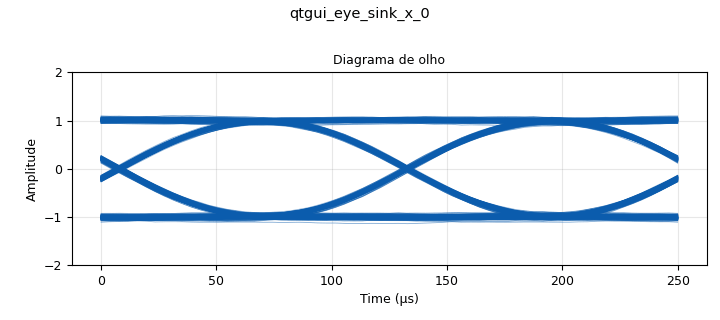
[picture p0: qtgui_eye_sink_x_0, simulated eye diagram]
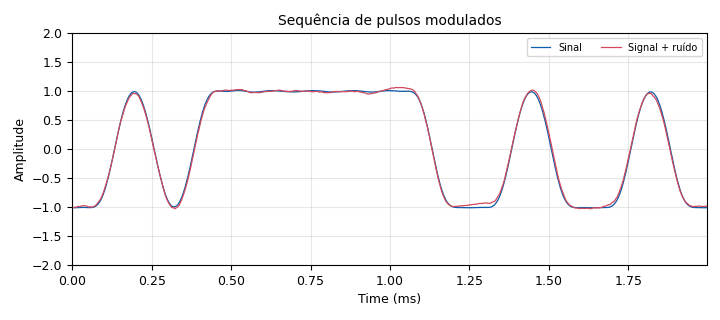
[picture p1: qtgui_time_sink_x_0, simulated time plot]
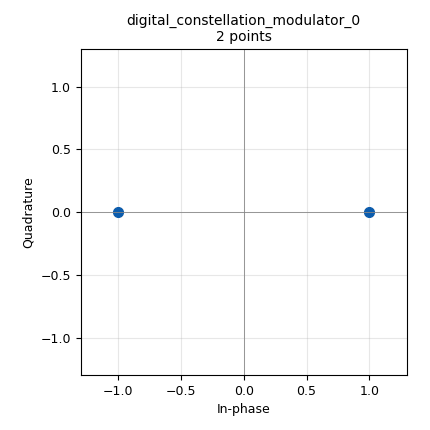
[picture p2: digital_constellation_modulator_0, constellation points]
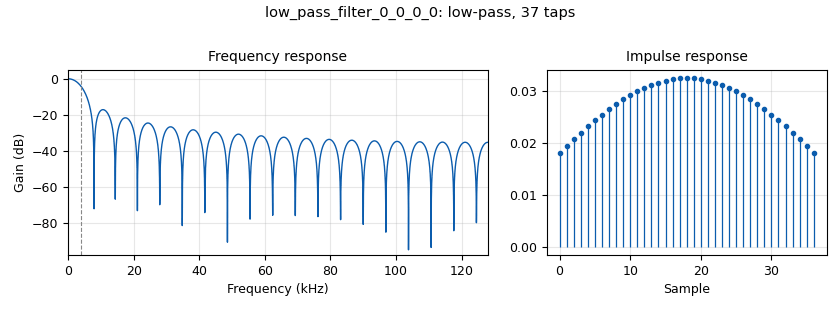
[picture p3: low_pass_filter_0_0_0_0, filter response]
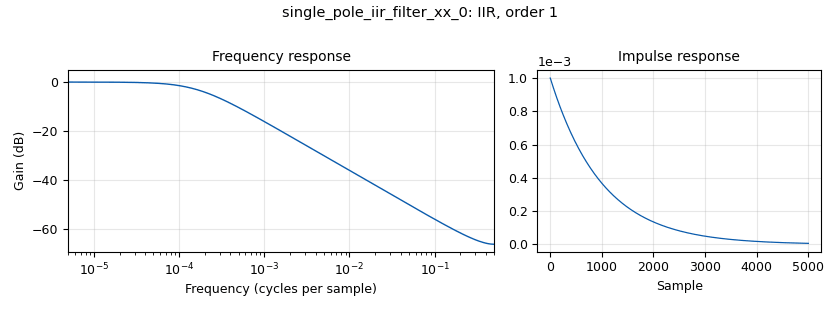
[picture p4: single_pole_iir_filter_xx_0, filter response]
options:
  parameters:
    generate_options: qt_gui
    id: Labo5_1
    output_language: python
  states: {}

blocks:
- name: RRCrolloff
  id: variable
  parameters:
    value: '2'
  states: {}
- name: constelacao
  id: variable_constellation
  parameters:
    precision: '8'
    type: bpsk
  states: {}
- name: noisePower
  id: variable_qtgui_range
  parameters:
    label: Potência (variância) do ruído
    start: '0'
    step: '0.0001'
    stop: '10'
    value: '0.04'
  states: {}
- name: samp_rate
  id: variable
  parameters:
    value: '256000'
  states: {}
- name: sps
  id: variable
  parameters:
    value: '32'
  states: {}
- name: analog_noise_source_x_0
  id: analog_noise_source_x
  parameters:
    amp: numpy.sqrt(noisePower)
    noise_type: analog.GR_GAUSSIAN
    seed: '0'
    type: float
  states: {}
- name: analog_random_source_x_1
  id: analog_random_source_x
  parameters:
    max: '256'
    min: '0'
    num_samps: '100000'
    repeat: 'True'
    type: byte
  states: {}
- name: blocks_add_xx_0
  id: blocks_add_xx
  parameters:
    type: float
  states: {}
- name: blocks_complex_to_real_0_1
  id: blocks_complex_to_real
  parameters: {}
  states: {}
- name: blocks_multiply_xx_0
  id: blocks_multiply_xx
  parameters:
    type: float
  states: {}
- name: blocks_multiply_xx_0_0
  id: blocks_multiply_xx
  parameters:
    type: float
  states: {}
- name: blocks_nlog10_ff_0_0
  id: blocks_nlog10_ff
  parameters:
    k: '0'
    n: '10'
  states: {}
- name: blocks_nlog10_ff_0_1
  id: blocks_nlog10_ff
  parameters:
    k: '0'
    n: '10'
  states: {}
- name: blocks_sub_xx_0
  id: blocks_sub_xx
  parameters:
    type: float
  states: {}
- name: blocks_throttle_0
  id: blocks_throttle
  parameters:
    samples_per_second: samp_rate
    type: float
  states: {}
- name: digital_constellation_modulator_0
  id: digital_constellation_modulator
  parameters:
    constellation: constelacao
    differential: 'True'
    excess_bw: RRCrolloff
    samples_per_symbol: sps
  states: {}
- name: low_pass_filter_0_0_0_0
  id: low_pass_filter
  parameters:
    beta: '1000'
    cutoff_freq: samp_rate/sps/2
    gain: '1'
    interp: '1'
    samp_rate: samp_rate
    type: interp_fir_filter_fff
    width: (samp_rate/sps)*0.83
    win: window.WIN_RECTANGULAR
  states: {}
- name: low_pass_filter_0_0_0_0_0
  id: low_pass_filter
  parameters:
    beta: '1000'
    cutoff_freq: samp_rate/sps/2
    gain: '1'
    interp: '1'
    samp_rate: samp_rate
    type: interp_fir_filter_fff
    width: (samp_rate/sps)*0.83
    win: window.WIN_RECTANGULAR
  states: {}
- name: low_pass_filter_0_0_0_0_1
  id: low_pass_filter
  parameters:
    beta: '1000'
    cutoff_freq: samp_rate/sps/2
    gain: '1'
    interp: '1'
    samp_rate: samp_rate
    type: interp_fir_filter_fff
    width: (samp_rate/sps)*0.83
    win: window.WIN_RECTANGULAR
  states: {}
- name: qtgui_eye_sink_x_0
  id: qtgui_eye_sink_x
  parameters:
    ctrlpanel: 'True'
    grid: 'True'
    gui_hint: 0,2,1,2
    label1: Diagrama de olho
    samp_per_symbol: sps
    size: 4096*8
    srate: samp_rate
    type: float
    ymax: '2'
    ymin: '-2'
  states: {}
- name: qtgui_number_sink_0
  id: qtgui_number_sink
  parameters:
    graph_type: qtgui.NUM_GRAPH_HORIZ
    max: '50'
    min: '-10'
    name: '"SNR (dB)"'
    type: float
  states: {}
- name: qtgui_time_sink_x_0
  id: qtgui_time_sink_x
  parameters:
    grid: 'True'
    gui_hint: 0,0,1,2
    label1: 'Sinal '
    label2: Signal + ruído
    name: '"Sequência de pulsos modulados"'
    nconnections: '2'
    size: '512'
    srate: samp_rate
    tr_level: '0.1'
    type: float
    ymax: '2'
    ymin: '-2'
  states: {}
- name: single_pole_iir_filter_xx_0
  id: single_pole_iir_filter_xx
  parameters:
    alpha: '0.001'
    type: float
  states: {}
- name: single_pole_iir_filter_xx_0_0
  id: single_pole_iir_filter_xx
  parameters:
    alpha: '0.001'
    type: float
  states: {}

connections:
- [analog_noise_source_x_0, '0', blocks_add_xx_0, '0']
- [analog_noise_source_x_0, '0', blocks_throttle_0, '0']
- [analog_random_source_x_1, '0', digital_constellation_modulator_0, '0']
- [blocks_add_xx_0, '0', low_pass_filter_0_0_0_0, '0']
- [blocks_complex_to_real_0_1, '0', blocks_add_xx_0, '1']
- [blocks_complex_to_real_0_1, '0', blocks_multiply_xx_0, '0']
- [blocks_complex_to_real_0_1, '0', blocks_multiply_xx_0, '1']
- [blocks_complex_to_real_0_1, '0', low_pass_filter_0_0_0_0_1, '0']
- [blocks_multiply_xx_0, '0', single_pole_iir_filter_xx_0_0, '0']
- [blocks_multiply_xx_0_0, '0', single_pole_iir_filter_xx_0, '0']
- [blocks_nlog10_ff_0_0, '0', blocks_sub_xx_0, '1']
- [blocks_nlog10_ff_0_1, '0', blocks_sub_xx_0, '0']
- [blocks_sub_xx_0, '0', qtgui_number_sink_0, '0']
- [blocks_throttle_0, '0', low_pass_filter_0_0_0_0_0, '0']
- [digital_constellation_modulator_0, '0', blocks_complex_to_real_0_1, '0']
- [low_pass_filter_0_0_0_0, '0', qtgui_eye_sink_x_0, '0']
- [low_pass_filter_0_0_0_0, '0', qtgui_time_sink_x_0, '1']
- [low_pass_filter_0_0_0_0_0, '0', blocks_multiply_xx_0_0, '0']
- [low_pass_filter_0_0_0_0_0, '0', blocks_multiply_xx_0_0, '1']
- [low_pass_filter_0_0_0_0_1, '0', qtgui_time_sink_x_0, '0']
- [single_pole_iir_filter_xx_0, '0', blocks_nlog10_ff_0_0, '0']
- [single_pole_iir_filter_xx_0_0, '0', blocks_nlog10_ff_0_1, '0']

metadata:
  file_format: 1
  grc_version: 3.10.7.0
